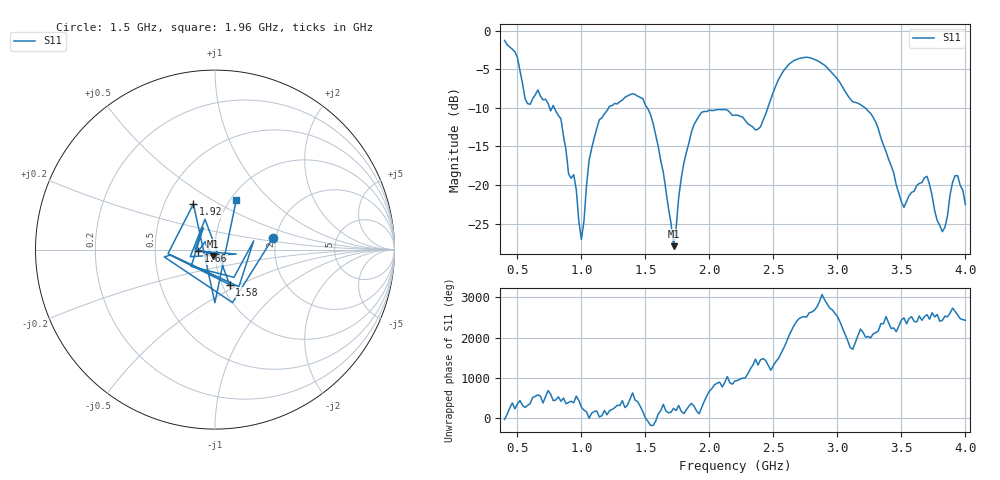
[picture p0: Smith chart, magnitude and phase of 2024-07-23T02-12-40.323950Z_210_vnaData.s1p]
!Created with skrf (http://scikit-rf.org).
# Hz S RI R 50.0
!freq ReS11 ImS11
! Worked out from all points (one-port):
!   181 points, 400 MHz to 4 GHz, reference 50 ohm
!   lowest |S11| = -27.9 dB at 1.72 GHz (marker M1), VSWR 1.08, Z = 48.5 - j3.68 ohm
!   |S11| at or under -10 dB: 788.4 MHz to 1.213 GHz (424.8 MHz wide, 42.4 % of centre); 1.514 GHz to 2.456 GHz (942.1 MHz wide, 47.5 % of centre); 3.216 GHz to end of sweep (the widest 3 of 4)
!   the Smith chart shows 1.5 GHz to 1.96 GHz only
!   S11 on the Smith chart (normalised r, x): 1.5 GHz: 1.93, +0.28; 1.58 GHz: 1.08, -0.44; 1.66 GHz: 0.83, -0.01; 1.92 GHz: 0.70, +0.39; 1.96 GHz: 1.07, +0.65
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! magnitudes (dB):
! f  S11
! 400 MHz  -1.3
! 580 MHz  -9.5
! 660 MHz  -7.7
! 860 MHz  -13.7
! 900 MHz  -18.6
! 940 MHz  -18.7
! 1 GHz  -27.1
! 1.06 GHz  -16.8
! 1.12 GHz  -12.7
! 1.3 GHz  -9.2
! 1.5 GHz  -9.7
! 1.58 GHz  -13.5
! 1.66 GHz  -20.7
! 1.72 GHz  -27.9
! 1.76 GHz  -21.6
! 1.92 GHz  -11.0
! 1.96 GHz  -10.5
! 2.2 GHz  -10.9
! 2.38 GHz  -12.8
! 2.66 GHz  -3.9
! 3.1 GHz  -8.9
! 3.3 GHz  -11.9
! 3.52 GHz  -22.9
! 3.56 GHz  -21.4
! 3.7 GHz  -18.9
! 3.82 GHz  -26.1
! 3.92 GHz  -18.8
! 4 GHz  -22.5
